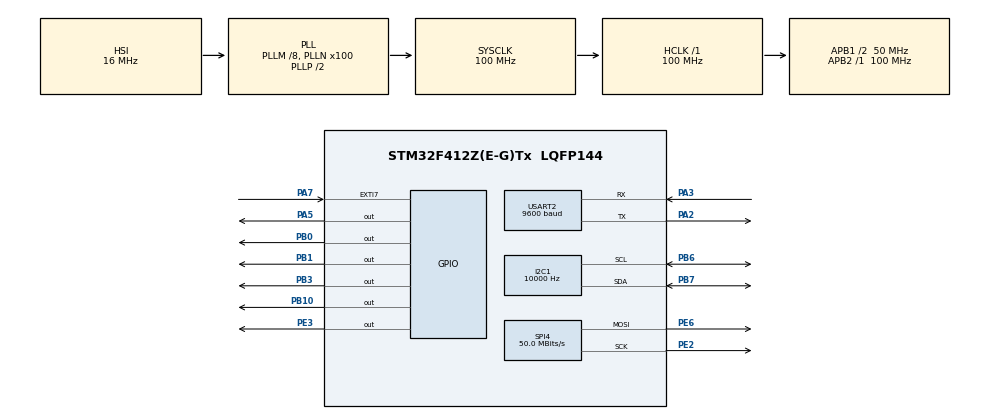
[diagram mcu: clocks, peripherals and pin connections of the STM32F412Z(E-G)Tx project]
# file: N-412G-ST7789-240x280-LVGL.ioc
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Dma.Request0=SPI4_TX
Dma.SPI4_TX.0.Direction=DMA_MEMORY_TO_PERIPH
Dma.SPI4_TX.0.FIFOMode=DMA_FIFOMODE_DISABLE
Dma.SPI4_TX.0.Instance=DMA2_Stream1
Dma.SPI4_TX.0.MemDataAlignment=DMA_MDATAALIGN_BYTE
Dma.SPI4_TX.0.MemInc=DMA_MINC_ENABLE
Dma.SPI4_TX.0.Mode=DMA_NORMAL
Dma.SPI4_TX.0.PeriphDataAlignment=DMA_PDATAALIGN_BYTE
Dma.SPI4_TX.0.PeriphInc=DMA_PINC_DISABLE
Dma.SPI4_TX.0.Priority=DMA_PRIORITY_LOW
I2C1.ClockSpeed=10000
I2C1.I2C_Mode=I2C_Standard
Mcu.Family=STM32F4
Mcu.Name=STM32F412Z(E-G)Tx
Mcu.Package=LQFP144
NVIC.DMA2_Stream1_IRQn=true\:0\:0\:false\:false\:true\:false\:true\:true
NVIC.EXTI9_5_IRQn=true\:0\:0\:false\:false\:true\:true\:true\:true
NVIC.I2C1_EV_IRQn=true\:0\:0\:false\:false\:true\:true\:true\:true
NVIC.PriorityGroup=NVIC_PRIORITYGROUP_4
NVIC.TIM3_IRQn=true\:0\:0\:false\:false\:true\:true\:true\:true
PA13.Mode=Serial_Wire
PA13.Signal=SYS_JTMS-SWDIO
PA14.Mode=Serial_Wire
PA14.Signal=SYS_JTCK-SWCLK
PA2.Mode=Asynchronous
PA2.Signal=USART2_TX
PA3.Mode=Asynchronous
PA3.Signal=USART2_RX
PA5.Signal=GPIO_Output
PA7.GPIO_ModeDefaultEXTI=GPIO_MODE_IT_FALLING
PA7.GPIO_PuPd=GPIO_PULLUP
PA7.Signal=GPXTI7
PB0.GPIO_Speed=GPIO_SPEED_FREQ_HIGH
PB0.Signal=GPIO_Output
PB1.GPIO_Speed=GPIO_SPEED_FREQ_HIGH
PB1.Signal=GPIO_Output
PB10.Signal=GPIO_Output
PB3.GPIO_Speed=GPIO_SPEED_FREQ_HIGH
PB3.Signal=GPIO_Output
PB6.Mode=I2C
PB6.Signal=I2C1_SCL
PB7.Mode=I2C
PB7.Signal=I2C1_SDA
PE2.Mode=TX_Only_Simplex_Unidirect_Master
PE2.Signal=SPI4_SCK
PE3.GPIO_ModeDefaultOutputPP=GPIO_MODE_OUTPUT_OD
PE3.GPIO_PuPd=GPIO_NOPULL
PE3.Signal=GPIO_Output
PE6.Mode=TX_Only_Simplex_Unidirect_Master
PE6.Signal=SPI4_MOSI
ProjectManager.HeapSize=0x200
ProjectManager.StackSize=0x400
ProjectManager.TargetToolchain=STM32CubeIDE
RCC.48MHZClocksFreq_Value=48000000
RCC.AHBFreq_Value=100000000
RCC.APB1CLKDivider=RCC_HCLK_DIV2
RCC.APB1Freq_Value=50000000
RCC.APB1TimFreq_Value=100000000
RCC.APB2Freq_Value=100000000
RCC.APB2TimFreq_Value=100000000
RCC.CortexFreq_Value=100000000
RCC.HCLKFreq_Value=100000000
RCC.HSE_VALUE=8000000
RCC.HSI_VALUE=16000000
RCC.PLLI2SM=4
RCC.PLLI2SN=50
RCC.PLLM=8
RCC.PLLN=100
RCC.PLLQ=3
RCC.SYSCLKFreq_VALUE=100000000
RCC.SYSCLKSource=RCC_SYSCLKSOURCE_PLLCLK
RCC.USBFreq_Value=66666666.666666664
RCC.VCOOutputFreq_Value=200000000
SPI4.BaudRatePrescaler=SPI_BAUDRATEPRESCALER_2
SPI4.CLKPolarity=SPI_POLARITY_HIGH
SPI4.CalculateBaudRate=50.0 MBits/s
SPI4.Direction=SPI_DIRECTION_2LINES
SPI4.Mode=SPI_MODE_MASTER
SPI4.VirtualType=VM_MASTER
TIM1.ClockDivision=TIM_CLOCKDIVISION_DIV1
TIM1.Period=2501-1
TIM1.Prescaler=40001-1
TIM2.ClockDivision=TIM_CLOCKDIVISION_DIV4
TIM2.Period=999999-1
TIM2.Prescaler=40000
TIM3.ClockDivision=TIM_CLOCKDIVISION_DIV4
TIM3.Period=1001-1
TIM3.Prescaler=10000
TIM8.ClockDivision=TIM_CLOCKDIVISION_DIV4
TIM8.Period=6001-1
TIM8.Prescaler=40000
USART2.BaudRate=9600
USART2.VirtualMode=VM_ASYNC
VP_TIM1_VS_ClockSourceINT.Mode=Internal
VP_TIM2_VS_ClockSourceINT.Mode=Internal
VP_TIM3_VS_ClockSourceINT.Mode=Internal
VP_TIM8_VS_ClockSourceINT.Mode=Internal
board=STM32F412G-DISCO

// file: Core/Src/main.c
/* USER CODE BEGIN Header */
/**
  ******************************************************************************
  * @file           : main.c
  * @brief          : Main program body
  ******************************************************************************
  * @attention
  *
  * Copyright (c) 2024 STMicroelectronics.
  * All rights reserved.
  *
  * This software is licensed under terms that can be found in the LICENSE file
  * in the root directory of this software component.
  * If no LICENSE file comes with this software, it is provided AS-IS.
  *
  ******************************************************************************
  */
/*
LCD
PB1 = LCD DC [7]
PB3 = LCD CS [8]
PB0 = LCD RST [11]
PE2 = LCD SCK [9]
PE6 = LCD SDA [10]
TOUCH
PA5 = TOUCH RST [15]
PE0 = TOUCH INT [16]
PB6 = TOUCH SCK [13] (OR)
PB7 = TOUCH SDA [14] (YL)
			   /*
// lv_disp_set_rotation(NULL, LV_DISP_ROT_90)

/* USER CODE END Header */
#include "main.h"

/* USER CODE BEGIN Includes */
#include "st7789.h"
#include "cst816s_hal.h"
#include "../../lvgl/lvgl.h"
#include "../../lv_conf.h"
#include "ui.h"
#include "stm32f4xx_hal.h"
#include "lv_port_indev.h"
//#include "lv_examples.h"
//#include "lv_demos.h"
/* USER CODE END Includes */

/* USER CODE BEGIN PTD */

int16_t X1 =0;
int16_t Y1 =0;
int16_t X0 =0;
int16_t Y0 =0;
uint8_t gesture =0;
uint8_t TouchScan =0;
uint8_t Touched =0;

/* USER CODE END PTD */

I2C_HandleTypeDef hi2c1;

SPI_HandleTypeDef hspi4;
DMA_HandleTypeDef hdma_spi4_tx;

TIM_HandleTypeDef htim1;
TIM_HandleTypeDef htim2;
TIM_HandleTypeDef htim3;
TIM_HandleTypeDef htim8;

UART_HandleTypeDef huart2;

void SystemClock_Config(void);
static void MX_GPIO_Init(void);
static void MX_DMA_Init(void);
static void MX_SPI4_Init(void);
static void MX_I2C1_Init(void);
static void MX_USART2_UART_Init(void);
static void MX_TIM2_Init(void);
static void MX_TIM8_Init(void);
static void MX_TIM1_Init(void);
static void MX_TIM3_Init(void);
/* USER CODE BEGIN PFP */

void touchRead(void)
{
char bufferver[32] = { 0 };

if (TouchScan == 1)
{
	    gesture = CS816T_Gesture(); // get gesture
		X0 = CS816T_GetX(); // get X
		Y0 = CS816T_GetY(); // get Y

        // Set touch area for Screen Rotation '0' (Default)
		X0 = X0 - 240;
		X0 = X0*-1;
		Y0 = Y0 - 240;
		Y0= Y0*-1.1;
		Y1= Y0;
		X1 = X0;

}
TouchScan = 0;
}

void TouchCalibration(void)
{
if(X1>0 | Y1>0)
{
	 ST7789_DrawCircle(X1, Y1, 2, BLACK);
}

  }

/* USER CODE END PFP */

int main(void)
{

  /* MCU Configuration--------------------------------------------------------*/

  /* Reset of all peripherals, Initializes the Flash interface and the Systick. */
  HAL_Init();

  /* Configure the system clock */
  SystemClock_Config();

  /* Initialize all configured peripherals */
  MX_GPIO_Init();
  MX_DMA_Init();
  MX_SPI4_Init();
  MX_I2C1_Init();
  MX_USART2_UART_Init();
  MX_TIM2_Init();
  MX_TIM8_Init();
  MX_TIM1_Init();
  MX_TIM3_Init();
  /* USER CODE BEGIN 2 */

   ST7789_Init();
   HAL_Delay(100);
   Display_init(0);

  HAL_Delay(100);
  CS816T_Init(&hi2c1);
  HAL_Delay(50);
  CS816T_SetRegByte(0xFE, 1); // Disable Sleep
  HAL_Delay(50);
  CS816T_SetRegByte(0xFB, 0); // Disable Auto Reset
  HAL_Delay(50);
  lv_port_indev_init(true); // enable touch screen control

  ui_init();
  /* USER CODE END 2 */

  /* Infinite loop */
  while (1)
  {

    /* USER CODE BEGIN 3 */

	 touchRead();
	 HAL_Delay(2);
	 lv_task_handler();
	 lv_tick_inc(1);

  }
  /* USER CODE END 3 */
}

void SystemClock_Config(void)
{
  RCC_OscInitTypeDef RCC_OscInitStruct = {0};
  RCC_ClkInitTypeDef RCC_ClkInitStruct = {0};

  /** Configure the main internal regulator output voltage
  */
  __HAL_RCC_PWR_CLK_ENABLE();
  __HAL_PWR_VOLTAGESCALING_CONFIG(PWR_REGULATOR_VOLTAGE_SCALE1);

  /** Initializes the RCC Oscillators according to the specified parameters
  * in the RCC_OscInitTypeDef structure.
  */
  RCC_OscInitStruct.OscillatorType = RCC_OSCILLATORTYPE_HSI;
  RCC_OscInitStruct.HSIState = RCC_HSI_ON;
  RCC_OscInitStruct.HSICalibrationValue = RCC_HSICALIBRATION_DEFAULT;
  RCC_OscInitStruct.PLL.PLLState = RCC_PLL_ON;
  RCC_OscInitStruct.PLL.PLLSource = RCC_PLLSOURCE_HSI;
  RCC_OscInitStruct.PLL.PLLM = 8;
  RCC_OscInitStruct.PLL.PLLN = 100;
  RCC_OscInitStruct.PLL.PLLP = RCC_PLLP_DIV2;
  RCC_OscInitStruct.PLL.PLLQ = 3;
  RCC_OscInitStruct.PLL.PLLR = 2;
  if (HAL_RCC_OscConfig(&RCC_OscInitStruct) != HAL_OK)
  {
    Error_Handler();
  }

  /** Initializes the CPU, AHB and APB buses clocks
  */
  RCC_ClkInitStruct.ClockType = RCC_CLOCKTYPE_HCLK|RCC_CLOCKTYPE_SYSCLK
                              |RCC_CLOCKTYPE_PCLK1|RCC_CLOCKTYPE_PCLK2;
  RCC_ClkInitStruct.SYSCLKSource = RCC_SYSCLKSOURCE_PLLCLK;
  RCC_ClkInitStruct.AHBCLKDivider = RCC_SYSCLK_DIV1;
  RCC_ClkInitStruct.APB1CLKDivider = RCC_HCLK_DIV2;
  RCC_ClkInitStruct.APB2CLKDivider = RCC_HCLK_DIV1;

  if (HAL_RCC_ClockConfig(&RCC_ClkInitStruct, FLASH_LATENCY_3) != HAL_OK)
  {
    Error_Handler();
  }
}

static void MX_I2C1_Init(void)
{

  hi2c1.Instance = I2C1;
  hi2c1.Init.ClockSpeed = 10000;
  hi2c1.Init.DutyCycle = I2C_DUTYCYCLE_2;
  hi2c1.Init.OwnAddress1 = 0;
  hi2c1.Init.AddressingMode = I2C_ADDRESSINGMODE_7BIT;
  hi2c1.Init.DualAddressMode = I2C_DUALADDRESS_DISABLE;
  hi2c1.Init.OwnAddress2 = 0;
  hi2c1.Init.GeneralCallMode = I2C_GENERALCALL_DISABLE;
  hi2c1.Init.NoStretchMode = I2C_NOSTRETCH_DISABLE;
  if (HAL_I2C_Init(&hi2c1) != HAL_OK)
  {
    Error_Handler();
  }

}

static void MX_SPI4_Init(void)
{

  /* SPI4 parameter configuration*/
  hspi4.Instance = SPI4;
  hspi4.Init.Mode = SPI_MODE_MASTER;
  hspi4.Init.Direction = SPI_DIRECTION_2LINES;
  hspi4.Init.DataSize = SPI_DATASIZE_8BIT;
  hspi4.Init.CLKPolarity = SPI_POLARITY_HIGH;
  hspi4.Init.CLKPhase = SPI_PHASE_1EDGE;
  hspi4.Init.NSS = SPI_NSS_SOFT;
  hspi4.Init.BaudRatePrescaler = SPI_BAUDRATEPRESCALER_2;
  hspi4.Init.FirstBit = SPI_FIRSTBIT_MSB;
  hspi4.Init.TIMode = SPI_TIMODE_DISABLE;
  hspi4.Init.CRCCalculation = SPI_CRCCALCULATION_DISABLE;
  hspi4.Init.CRCPolynomial = 10;
  if (HAL_SPI_Init(&hspi4) != HAL_OK)
  {
    Error_Handler();
  }

}

static void MX_TIM1_Init(void)
{

  TIM_ClockConfigTypeDef sClockSourceConfig = {0};
  TIM_MasterConfigTypeDef sMasterConfig = {0};

  htim1.Instance = TIM1;
  htim1.Init.Prescaler = 40001-1;
  htim1.Init.CounterMode = TIM_COUNTERMODE_UP;
  htim1.Init.Period = 2501-1;
  htim1.Init.ClockDivision = TIM_CLOCKDIVISION_DIV1;
  htim1.Init.RepetitionCounter = 0;
  htim1.Init.AutoReloadPreload = TIM_AUTORELOAD_PRELOAD_DISABLE;
  if (HAL_TIM_Base_Init(&htim1) != HAL_OK)
  {
    Error_Handler();
  }
  sClockSourceConfig.ClockSource = TIM_CLOCKSOURCE_INTERNAL;
  if (HAL_TIM_ConfigClockSource(&htim1, &sClockSourceConfig) != HAL_OK)
  {
    Error_Handler();
  }
  sMasterConfig.MasterOutputTrigger = TIM_TRGO_RESET;
  sMasterConfig.MasterSlaveMode = TIM_MASTERSLAVEMODE_DISABLE;
  if (HAL_TIMEx_MasterConfigSynchronization(&htim1, &sMasterConfig) != HAL_OK)
  {
    Error_Handler();
  }

}

static void MX_TIM2_Init(void)
{

  TIM_ClockConfigTypeDef sClockSourceConfig = {0};
  TIM_MasterConfigTypeDef sMasterConfig = {0};

  htim2.Instance = TIM2;
  htim2.Init.Prescaler = 40000;
  htim2.Init.CounterMode = TIM_COUNTERMODE_UP;
  htim2.Init.Period = 999999-1;
  htim2.Init.ClockDivision = TIM_CLOCKDIVISION_DIV4;
  htim2.Init.AutoReloadPreload = TIM_AUTORELOAD_PRELOAD_DISABLE;
  if (HAL_TIM_Base_Init(&htim2) != HAL_OK)
  {
    Error_Handler();
  }
  sClockSourceConfig.ClockSource = TIM_CLOCKSOURCE_INTERNAL;
  if (HAL_TIM_ConfigClockSource(&htim2, &sClockSourceConfig) != HAL_OK)
  {
    Error_Handler();
  }
  sMasterConfig.MasterOutputTrigger = TIM_TRGO_RESET;
  sMasterConfig.MasterSlaveMode = TIM_MASTERSLAVEMODE_DISABLE;
  if (HAL_TIMEx_MasterConfigSynchronization(&htim2, &sMasterConfig) != HAL_OK)
  {
    Error_Handler();
  }

}

static void MX_TIM3_Init(void)
{

  TIM_ClockConfigTypeDef sClockSourceConfig = {0};
  TIM_MasterConfigTypeDef sMasterConfig = {0};

  htim3.Instance = TIM3;
  htim3.Init.Prescaler = 10000;
  htim3.Init.CounterMode = TIM_COUNTERMODE_UP;
  htim3.Init.Period = 1001-1;
  htim3.Init.ClockDivision = TIM_CLOCKDIVISION_DIV4;
  htim3.Init.AutoReloadPreload = TIM_AUTORELOAD_PRELOAD_DISABLE;
  if (HAL_TIM_Base_Init(&htim3) != HAL_OK)
  {
    Error_Handler();
  }
  sClockSourceConfig.ClockSource = TIM_CLOCKSOURCE_INTERNAL;
  if (HAL_TIM_ConfigClockSource(&htim3, &sClockSourceConfig) != HAL_OK)
  {
    Error_Handler();
  }
  sMasterConfig.MasterOutputTrigger = TIM_TRGO_RESET;
  sMasterConfig.MasterSlaveMode = TIM_MASTERSLAVEMODE_DISABLE;
  if (HAL_TIMEx_MasterConfigSynchronization(&htim3, &sMasterConfig) != HAL_OK)
  {
    Error_Handler();
  }

}

static void MX_TIM8_Init(void)
{

  TIM_ClockConfigTypeDef sClockSourceConfig = {0};
  TIM_MasterConfigTypeDef sMasterConfig = {0};

  htim8.Instance = TIM8;
  htim8.Init.Prescaler = 40000;
  htim8.Init.CounterMode = TIM_COUNTERMODE_UP;
  htim8.Init.Period = 6001-1;
  htim8.Init.ClockDivision = TIM_CLOCKDIVISION_DIV4;
  htim8.Init.RepetitionCounter = 0;
  htim8.Init.AutoReloadPreload = TIM_AUTORELOAD_PRELOAD_DISABLE;
  if (HAL_TIM_Base_Init(&htim8) != HAL_OK)
  {
    Error_Handler();
  }
  sClockSourceConfig.ClockSource = TIM_CLOCKSOURCE_INTERNAL;
  if (HAL_TIM_ConfigClockSource(&htim8, &sClockSourceConfig) != HAL_OK)
  {
    Error_Handler();
  }
  sMasterConfig.MasterOutputTrigger = TIM_TRGO_RESET;
  sMasterConfig.MasterSlaveMode = TIM_MASTERSLAVEMODE_DISABLE;
  if (HAL_TIMEx_MasterConfigSynchronization(&htim8, &sMasterConfig) != HAL_OK)
  {
    Error_Handler();
  }

}

static void MX_USART2_UART_Init(void)
{

  huart2.Instance = USART2;
  huart2.Init.BaudRate = 9600;
  huart2.Init.WordLength = UART_WORDLENGTH_8B;
  huart2.Init.StopBits = UART_STOPBITS_1;
  huart2.Init.Parity = UART_PARITY_NONE;
  huart2.Init.Mode = UART_MODE_TX_RX;
  huart2.Init.HwFlowCtl = UART_HWCONTROL_NONE;
  huart2.Init.OverSampling = UART_OVERSAMPLING_16;
  if (HAL_UART_Init(&huart2) != HAL_OK)
  {
    Error_Handler();
  }

}

static void MX_DMA_Init(void)
{

  /* DMA controller clock enable */
  __HAL_RCC_DMA2_CLK_ENABLE();

  /* DMA interrupt init */
  /* DMA2_Stream1_IRQn interrupt configuration */
  HAL_NVIC_SetPriority(DMA2_Stream1_IRQn, 0, 0);
  HAL_NVIC_EnableIRQ(DMA2_Stream1_IRQn);

}

static void MX_GPIO_Init(void)
{
  GPIO_InitTypeDef GPIO_InitStruct = {0};

  /* GPIO Ports Clock Enable */
  __HAL_RCC_GPIOE_CLK_ENABLE();
  __HAL_RCC_GPIOA_CLK_ENABLE();
  __HAL_RCC_GPIOB_CLK_ENABLE();

  /*Configure GPIO pin Output Level */
  HAL_GPIO_WritePin(GPIOE, GPIO_PIN_3, GPIO_PIN_RESET);

  /*Configure GPIO pin Output Level */
  HAL_GPIO_WritePin(GPIOA, GPIO_PIN_5, GPIO_PIN_RESET);

  /*Configure GPIO pin Output Level */
  HAL_GPIO_WritePin(GPIOB, GPIO_PIN_0|GPIO_PIN_1|GPIO_PIN_10|GPIO_PIN_3, GPIO_PIN_RESET);

  /*Configure GPIO pin : PE3 */
  GPIO_InitStruct.Pin = GPIO_PIN_3;
  GPIO_InitStruct.Mode = GPIO_MODE_OUTPUT_OD;
  GPIO_InitStruct.Pull = GPIO_NOPULL;
  GPIO_InitStruct.Speed = GPIO_SPEED_FREQ_LOW;
  HAL_GPIO_Init(GPIOE, &GPIO_InitStruct);

  /*Configure GPIO pin : PA5 */
  GPIO_InitStruct.Pin = GPIO_PIN_5;
  GPIO_InitStruct.Mode = GPIO_MODE_OUTPUT_PP;
  GPIO_InitStruct.Pull = GPIO_NOPULL;
  GPIO_InitStruct.Speed = GPIO_SPEED_FREQ_LOW;
  HAL_GPIO_Init(GPIOA, &GPIO_InitStruct);

  /*Configure GPIO pin : PA7 */
  GPIO_InitStruct.Pin = GPIO_PIN_7;
  GPIO_InitStruct.Mode = GPIO_MODE_IT_FALLING;
  GPIO_InitStruct.Pull = GPIO_PULLUP;
  HAL_GPIO_Init(GPIOA, &GPIO_InitStruct);

  /*Configure GPIO pins : PB0 PB1 PB3 */
  GPIO_InitStruct.Pin = GPIO_PIN_0|GPIO_PIN_1|GPIO_PIN_3;
  GPIO_InitStruct.Mode = GPIO_MODE_OUTPUT_PP;
  GPIO_InitStruct.Pull = GPIO_NOPULL;
  GPIO_InitStruct.Speed = GPIO_SPEED_FREQ_HIGH;
  HAL_GPIO_Init(GPIOB, &GPIO_InitStruct);

  /*Configure GPIO pin : PB10 */
  GPIO_InitStruct.Pin = GPIO_PIN_10;
  GPIO_InitStruct.Mode = GPIO_MODE_OUTPUT_PP;
  GPIO_InitStruct.Pull = GPIO_NOPULL;
  GPIO_InitStruct.Speed = GPIO_SPEED_FREQ_LOW;
  HAL_GPIO_Init(GPIOB, &GPIO_InitStruct);

  /* EXTI interrupt init*/
  HAL_NVIC_SetPriority(EXTI9_5_IRQn, 0, 0);
  HAL_NVIC_EnableIRQ(EXTI9_5_IRQn);

}

/* USER CODE BEGIN 4 */

void HAL_GPIO_EXTI_Callback(uint16_t GPIO_Pin)
{
    if(GPIO_Pin == GPIO_PIN_7) // If The INT Source Is EXTI Line9 (A9 Pin)
    {
    	TouchScan = 1;
    }

}

void HAL_TIM_PeriodElapsedCallback(TIM_HandleTypeDef *htim)
{
	// Timer interrupt callback code here (Not used)
 }

/* USER CODE END 4 */

void Error_Handler(void)
{
  __disable_irq();
  while (1)
  {
  }
}
